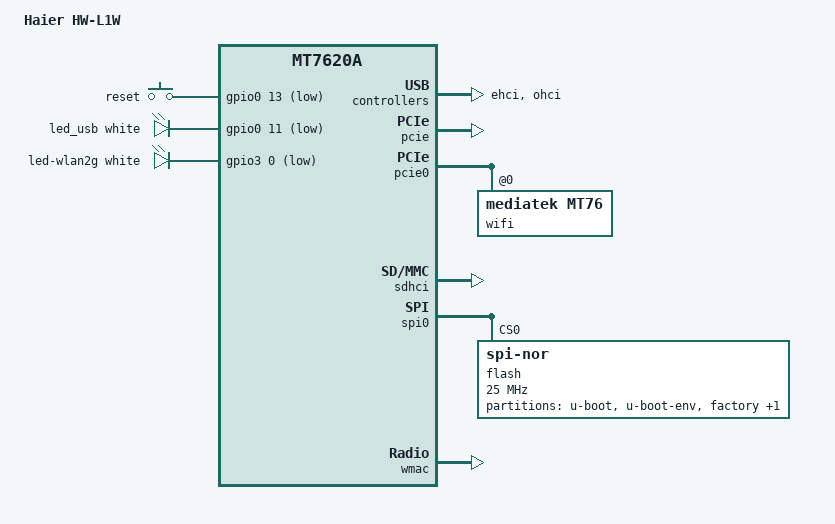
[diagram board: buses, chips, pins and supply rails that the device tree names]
// SPDX-License-Identifier: GPL-2.0-or-later OR MIT

#include "mt7620a.dtsi"

#include <dt-bindings/gpio/gpio.h>
#include <dt-bindings/input/input.h>
#include <dt-bindings/leds/common.h>

/ {
	compatible = "haier,hw-l1w", "ralink,mt7620a-soc";
	model = "Haier HW-L1W";

	aliases {
		led-boot = &led_usb;
		led-failsafe = &led_usb;
		led-upgrade = &led_usb;
	};

	chosen {
		bootargs = "console=ttyS0,115200";
	};

	keys {
		compatible = "gpio-keys";

		reset {
			label = "reset";
			gpios = <&gpio0 13 GPIO_ACTIVE_LOW>;
			linux,code = <KEY_RESTART>;
		};
	};

	leds {
		compatible = "gpio-leds";

		led_usb: led-usb {
			color = <LED_COLOR_ID_WHITE>;
			function = LED_FUNCTION_USB;
			gpios = <&gpio0 11 GPIO_ACTIVE_LOW>;
			linux,default-trigger = "usbport";
			trigger-sources = <&ohci_port1>, <&ehci_port1>;
		};

		led-wlan2g {
			color = <LED_COLOR_ID_WHITE>;
			function = LED_FUNCTION_WLAN_2GHZ;
			gpios = <&gpio3 0 GPIO_ACTIVE_LOW>;
			linux,default-trigger = "phy1tpt";
		};
	};
};

&ehci {
	status = "okay";
};

&ethernet {
	mediatek,portmap = "wllll";

	pinctrl-names = "default";
	pinctrl-0 = <&ephy_pins>;

	nvmem-cells = <&macaddr_factory_ffe8>;
	nvmem-cell-names = "mac-address";
};

&gpio3 {
	status = "okay";
};

&ohci {
	status = "okay";
};

&pcie {
	status = "okay";
};

&pcie0 {
	wifi@0,0 {
		compatible = "mediatek,mt76";
		reg = <0x0000 0 0 0 0>;
		ieee80211-freq-limit = <5000000 6000000>;
		nvmem-cells = <&eeprom_factory_8000>;
		nvmem-cell-names = "eeprom";

		led {
			led-sources = <0>;
			led-active-low;
		};
	};
};

&sdhci {
	status = "okay";
};

&spi0 {
	status = "okay";

	flash@0 {
		compatible = "jedec,spi-nor";
		reg = <0>;
		spi-max-frequency = <25000000>;

		partitions {
			compatible = "fixed-partitions";
			#address-cells = <1>;
			#size-cells = <1>;

			partition@0 {
				label = "u-boot";
				reg = <0x000000 0x030000>;
				read-only;
			};

			partition@30000 {
				compatible = "u-boot,env";
				label = "u-boot-env";
				reg = <0x030000 0x010000>;
			};

			partition@40000 {
				label = "factory";
				reg = <0x040000 0x010000>;
				read-only;

				nvmem-layout {
					compatible = "fixed-layout";
					#address-cells = <1>;
					#size-cells = <1>;

					eeprom_factory_0: eeprom@0 {
						reg = <0x0 0x200>;
					};

					eeprom_factory_8000: eeprom@8000 {
						reg = <0x8000 0x200>;
					};

					macaddr_factory_ffe8: macaddr@ffe8 {
						reg = <0xffe8 0x6>;
					};
				};
			};

			partition@50000 {
				compatible = "denx,uimage";
				label = "firmware";
				reg = <0x050000 0xfb0000>;
			};
		};
	};
};

&state_default {
	gpio {
		groups = "uartf", "wled";
		function = "gpio";
	};
};

&wmac {
	nvmem-cells = <&eeprom_factory_0>;
	nvmem-cell-names = "eeprom";
};
